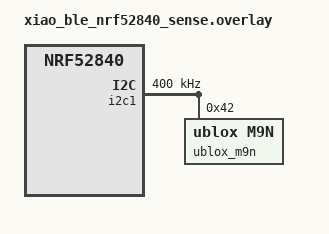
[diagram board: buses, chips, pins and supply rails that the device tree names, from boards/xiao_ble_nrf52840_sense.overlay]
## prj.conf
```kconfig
# -----------------------------
# I2C Support
# -----------------------------
CONFIG_I2C=y
CONFIG_I2C_NRFX=y

# -----------------------------
# Logging (optional but recommended)
# -----------------------------
CONFIG_LOG=y
CONFIG_LOG_DEFAULT_LEVEL=3

# -----------------------------
# Thread stack (UBX parsing needs some room)
# -----------------------------
CONFIG_MAIN_STACK_SIZE=4096

# -----------------------------
# Enable printk (for debugging)
# -----------------------------
CONFIG_PRINTK=y
CONFIG_STDOUT_CONSOLE=y
```

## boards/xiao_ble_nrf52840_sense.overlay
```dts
&i2c1 {
    status = "okay";
    clock-frequency = <I2C_BITRATE_FAST>;

    ublox_m9n: gnss@42 {
        compatible = "ublox,m9n";
        reg = <0x42>;
    };
};
```

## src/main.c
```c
#include <zephyr/kernel.h>
#include <zephyr/device.h>
#include <zephyr/drivers/i2c.h>
#include <zephyr/sys/printk.h>
#include <string.h>
#include <ctype.h>

#define UBLOX_ADDR 0x42
#define NMEA_MAX_LEN 128

static char nmea_buf[NMEA_MAX_LEN];
static int  nmea_len = 0;

/* -----------------------------
 * NMEA PARSER HELPERS
 * ----------------------------- */

static void parse_gnrmc(char *s)
{
    if (*s == '$') s++;

    char *type = strsep(&s, ",");
    if (!type || strcmp(type, "GNRMC") != 0) return;

    char *time_utc = strsep(&s, ",");
    char *status   = strsep(&s, ",");   // A=valid, V=void
    char *lat      = strsep(&s, ",");
    char *lat_hemi = strsep(&s, ",");
    char *lon      = strsep(&s, ",");
    char *lon_hemi = strsep(&s, ",");

    if (!status || *status != 'A') {
        printk("GNRMC: no fix\n");
        return;
    }

    printk("GNRMC: lat=%s %s, lon=%s %s\n",
           lat, lat_hemi, lon, lon_hemi);
}

static void parse_gngga(char *s)
{
    if (*s == '$') s++;

    char *type = strsep(&s, ",");
    if (!type || strcmp(type, "GNGGA") != 0) return;

    char *time_utc = strsep(&s, ",");
    char *lat      = strsep(&s, ",");
    char *lat_hemi = strsep(&s, ",");
    char *lon      = strsep(&s, ",");
    char *lon_hemi = strsep(&s, ",");
    char *fix_q    = strsep(&s, ",");   // 0=no fix, 1=GPS fix
    char *num_sats = strsep(&s, ",");

    if (!fix_q || *fix_q == '0') {
        printk("GNGGA: no fix\n");
        return;
    }

    printk("GNGGA: fix=%s sats=%s lat=%s %s lon=%s %s\n",
           fix_q, num_sats, lat, lat_hemi, lon, lon_hemi);
}

static void parse_nmea_sentence(char *line)
{
    char *star = strrchr(line, '*');
    if (!star) return;

    uint8_t cs_calc = 0;
    for (char *p = line + 1; p < star; p++) {
        cs_calc ^= (uint8_t)*p;
    }

    uint8_t cs_recv = (uint8_t)strtoul(star + 1, NULL, 16);
    if (cs_calc != cs_recv) {
        return; // bad checksum
    }

    if (strstr(line, "$GNRMC") == line) {
        parse_gnrmc(line);
    } else if (strstr(line, "$GNGGA") == line) {
        parse_gngga(line);
    }
}

/* -----------------------------
 * STREAM BYTE FEEDER
 * ----------------------------- */

static void nmea_feed_byte(uint8_t b)
{
    if (b == '$') {
        nmea_len = 0;
        nmea_buf[nmea_len++] = '$';
        return;
    }

    if (nmea_len == 0) {
        return; // waiting for '$'
    }

    if (nmea_len < NMEA_MAX_LEN - 1) {
        nmea_buf[nmea_len++] = (char)b;
    }

    if (b == '\n') {
        nmea_buf[nmea_len] = '\0';
        parse_nmea_sentence(nmea_buf);
        nmea_len = 0;
    }
}

/* -----------------------------
 * MAIN LOOP
 * ----------------------------- */

void main(void)
{
    const struct device *i2c = DEVICE_DT_GET(DT_NODELABEL(i2c1));

    if (!device_is_ready(i2c)) {
        printk("I2C device not ready\n");
        return;
    }

    printk("M9N NMEA reader started\n");

    uint8_t buf[64];

    while (1) {
        int ret = i2c_read(i2c, buf, sizeof(buf), UBLOX_ADDR);

        if (ret == 0) {
            for (int i = 0; i < sizeof(buf); i++) {
                nmea_feed_byte(buf[i]);
            }
        } else {
            // printk("I2C read error: %d\n", ret);
        }

        k_msleep(50);
    }
}
```
